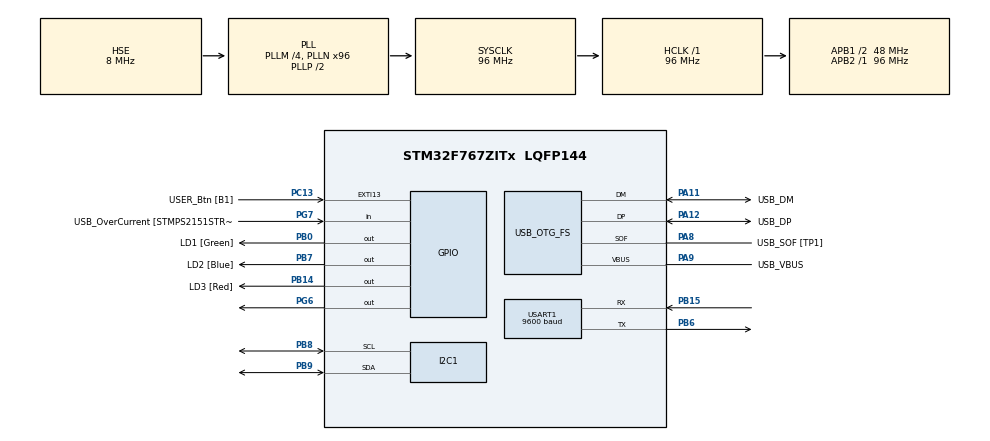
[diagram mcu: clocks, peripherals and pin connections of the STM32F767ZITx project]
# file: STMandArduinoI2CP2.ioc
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I2C1.Timing=0x20303E5D
Mcu.Family=STM32F7
Mcu.Name=STM32F767ZITx
Mcu.Package=LQFP144
NVIC.PriorityGroup=NVIC_PRIORITYGROUP_4
PA1.GPIO_Label=RMII_REF_CLK [LAN8742A-CZ-TR_REFCLK0]
PA1.Signal=ETH_REF_CLK
PA10.GPIO_Label=USB_ID
PA10.Signal=USB_OTG_FS_ID
PA11.GPIO_Label=USB_DM
PA11.Mode=Device_Only
PA11.Signal=USB_OTG_FS_DM
PA12.GPIO_Label=USB_DP
PA12.Mode=Device_Only
PA12.Signal=USB_OTG_FS_DP
PA13.GPIO_Label=TMS
PA13.Mode=Serial_Wire
PA13.Signal=SYS_JTMS-SWDIO
PA14.GPIO_Label=TCK
PA14.Mode=Serial_Wire
PA14.Signal=SYS_JTCK-SWCLK
PA2.GPIO_Label=RMII_MDIO [LAN8742A-CZ-TR_MDIO]
PA2.Signal=ETH_MDIO
PA7.GPIO_Label=RMII_CRS_DV [LAN8742A-CZ-TR_CRS_DV]
PA7.Signal=ETH_CRS_DV
PA8.GPIO_Label=USB_SOF [TP1]
PA8.Mode=Activate_SOF_FS
PA8.Signal=USB_OTG_FS_SOF
PA9.GPIO_Label=USB_VBUS
PA9.Mode=Activate_VBUS
PA9.Signal=USB_OTG_FS_VBUS
PB0.GPIO_Label=LD1 [Green]
PB0.Signal=GPIO_Output
PB13.GPIO_Label=RMII_TXD1 [LAN8742A-CZ-TR_TXD1]
PB13.Signal=ETH_TXD1
PB14.GPIO_Label=LD3 [Red]
PB14.Signal=GPIO_Output
PB15.Mode=Asynchronous
PB15.Signal=USART1_RX
PB3.GPIO_Label=SWO
PB3.Signal=SYS_JTDO-SWO
PB6.Mode=Asynchronous
PB6.Signal=USART1_TX
PB7.GPIO_Label=LD2 [Blue]
PB7.Signal=GPIO_Output
PB8.Mode=I2C
PB8.Signal=I2C1_SCL
PB9.Mode=I2C
PB9.Signal=I2C1_SDA
PC1.GPIO_Label=RMII_MDC [LAN8742A-CZ-TR_MDC]
PC1.Signal=ETH_MDC
PC13.GPIO_Label=USER_Btn [B1]
PC13.Signal=GPXTI13
PC14/OSC32_IN.Mode=LSE-External-Oscillator
PC14/OSC32_IN.Signal=RCC_OSC32_IN
PC15/OSC32_OUT.Mode=LSE-External-Oscillator
PC15/OSC32_OUT.Signal=RCC_OSC32_OUT
PC4.GPIO_Label=RMII_RXD0 [LAN8742A-CZ-TR_RXD0]
PC4.Signal=ETH_RXD0
PC5.GPIO_Label=RMII_RXD1 [LAN8742A-CZ-TR_RXD1]
PC5.Signal=ETH_RXD1
PD8.GPIO_Label=STLK_RX [STM32F103CBT6_PA3]
PD8.Signal=USART3_TX
PD9.GPIO_Label=STLK_TX [STM32F103CBT6_PA2]
PD9.Signal=USART3_RX
PG11.GPIO_Label=RMII_TX_EN [LAN8742A-CZ-TR_TXEN]
PG11.Signal=ETH_TX_EN
PG13.GPIO_Label=RMII_TXD0 [LAN8742A-CZ-TR_TXD0]
PG13.Signal=ETH_TXD0
PG6.Signal=GPIO_Output
PG7.GPIO_Label=USB_OverCurrent [STMPS2151STR_FAULT]
PG7.Signal=GPIO_Input
PH0/OSC_IN.GPIO_Label=MCO [STM32F103CBT6_PA8]
PH0/OSC_IN.Mode=HSE-External-Oscillator
PH0/OSC_IN.Signal=RCC_OSC_IN
PH1/OSC_OUT.Mode=HSE-External-Oscillator
PH1/OSC_OUT.Signal=RCC_OSC_OUT
ProjectManager.HeapSize=0x200
ProjectManager.StackSize=0x400
ProjectManager.TargetToolchain=STM32CubeIDE
RCC.48MHZClocksFreq_Value=24000000
RCC.AHBFreq_Value=96000000
RCC.APB1CLKDivider=RCC_HCLK_DIV2
RCC.APB1Freq_Value=48000000
RCC.APB1TimFreq_Value=96000000
RCC.APB2Freq_Value=96000000
RCC.APB2TimFreq_Value=96000000
RCC.CortexFreq_Value=96000000
RCC.HCLKFreq_Value=96000000
RCC.HSE_VALUE=8000000
RCC.HSI_VALUE=16000000
RCC.PLLM=4
RCC.PLLMUL=RCC_PLL_MUL9
RCC.PLLN=96
RCC.PLLQ=4
RCC.PRESCALERUSB=RCC_USBCLKSOURCE_PLL_DIV1_5
RCC.SYSCLKFreq_VALUE=96000000
RCC.SYSCLKSource=RCC_SYSCLKSOURCE_PLLCLK
RCC.SYSCLKSourceVirtual=RCC_SYSCLKSOURCE_PLLCLK
RCC.USBFreq_Value=48000000
RCC.VCOOutputFreq_Value=192000000
USART1.BaudRate=9600
USART1.VirtualMode-Asynchronous=VM_ASYNC
USB_OTG_FS.VirtualMode=Device_Only
board=NUCLEO-F767ZI

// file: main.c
/* USER CODE BEGIN Header */
/**
  ******************************************************************************
  * @file           : main.c
  * @brief          : Main program body
  ******************************************************************************
  * @attention
  *
  * Copyright (c) 2023 STMicroelectronics.
  * All rights reserved.
  *
  * This software is licensed under terms that can be found in the LICENSE file
  * in the root directory of this software component.
  * If no LICENSE file comes with this software, it is provided AS-IS.
  *
  ******************************************************************************
  */
/* USER CODE END Header */
#include "main.h"

/* USER CODE BEGIN Includes */
#include "math.h"
#include "stdio.h"
#include "stdlib.h"

/* USER CODE END Includes */

/* USER CODE BEGIN PD */
#define ARDUINOONE_I2C_DEVICEADDRESS 0x33<<1
#define ARDUINOTWO_I2C_DEVICEADDRESS 0x37<<1
/* USER CODE END PD */

I2C_HandleTypeDef hi2c1;

UART_HandleTypeDef huart1;

PCD_HandleTypeDef hpcd_USB_OTG_FS;

void SystemClock_Config(void);
static void MX_GPIO_Init(void);
static void MX_USB_OTG_FS_PCD_Init(void);
static void MX_I2C1_Init(void);
static void MX_USART1_UART_Init(void);
/* USER CODE BEGIN PFP */
uint8_t Cmd_End[3] = {0xff,0xff,0xff};
void NEXTION_SendNum (char *obj, int32_t num)
{
	uint8_t *buffer = malloc(30*sizeof (char));
	int len = sprintf ((char *)buffer, "%s.val=%ld", obj, num);
	HAL_UART_Transmit(&huart1, buffer, len, 1000);
	HAL_UART_Transmit(&huart1, Cmd_End, 3, 100);
	free(buffer);
}

/* USER CODE END PFP */

/* USER CODE BEGIN 0 */
unsigned char* arduinoMegaData1 [10];

unsigned char* arduinoNanoData1 [10];

int32_t num3;
int32_t num2;

/* USER CODE END 0 */

int main(void)
{

  /* MCU Configuration--------------------------------------------------------*/

  /* Reset of all peripherals, Initializes the Flash interface and the Systick. */
  HAL_Init();

  /* Configure the system clock */
  SystemClock_Config();

  /* Initialize all configured peripherals */
  MX_GPIO_Init();
  MX_USB_OTG_FS_PCD_Init();
  MX_I2C1_Init();
  MX_USART1_UART_Init();

  /* Infinite loop */
  while (1)
  {

    /* USER CODE BEGIN 3 */
	  HAL_I2C_Master_Receive(&hi2c1, ARDUINOONE_I2C_DEVICEADDRESS, arduinoMegaData1, 10, 100) != HAL_OK;
	  HAL_Delay(1000);

	  HAL_I2C_Master_Receive(&hi2c1, ARDUINOTWO_I2C_DEVICEADDRESS, arduinoNanoData1, 10, 100) != HAL_OK;
	  HAL_Delay(1000);

	  sscanf(arduinoMegaData1, "%d", &num2);
	  sscanf(arduinoNanoData1, "%d", &num3);

	  NEXTION_SendNum("n2", num2);
	  NEXTION_SendNum("n3", num3);
  }
  /* USER CODE END 3 */
}

void SystemClock_Config(void)
{
  RCC_OscInitTypeDef RCC_OscInitStruct = {0};
  RCC_ClkInitTypeDef RCC_ClkInitStruct = {0};

  /** Configure LSE Drive Capability
  */
  HAL_PWR_EnableBkUpAccess();

  /** Configure the main internal regulator output voltage
  */
  __HAL_RCC_PWR_CLK_ENABLE();
  __HAL_PWR_VOLTAGESCALING_CONFIG(PWR_REGULATOR_VOLTAGE_SCALE3);

  /** Initializes the RCC Oscillators according to the specified parameters
  * in the RCC_OscInitTypeDef structure.
  */
  RCC_OscInitStruct.OscillatorType = RCC_OSCILLATORTYPE_HSE;
  RCC_OscInitStruct.HSEState = RCC_HSE_ON;
  RCC_OscInitStruct.PLL.PLLState = RCC_PLL_ON;
  RCC_OscInitStruct.PLL.PLLSource = RCC_PLLSOURCE_HSE;
  RCC_OscInitStruct.PLL.PLLM = 4;
  RCC_OscInitStruct.PLL.PLLN = 96;
  RCC_OscInitStruct.PLL.PLLP = RCC_PLLP_DIV2;
  RCC_OscInitStruct.PLL.PLLQ = 4;
  RCC_OscInitStruct.PLL.PLLR = 2;
  if (HAL_RCC_OscConfig(&RCC_OscInitStruct) != HAL_OK)
  {
    Error_Handler();
  }

  /** Activate the Over-Drive mode
  */
  if (HAL_PWREx_EnableOverDrive() != HAL_OK)
  {
    Error_Handler();
  }

  /** Initializes the CPU, AHB and APB buses clocks
  */
  RCC_ClkInitStruct.ClockType = RCC_CLOCKTYPE_HCLK|RCC_CLOCKTYPE_SYSCLK
                              |RCC_CLOCKTYPE_PCLK1|RCC_CLOCKTYPE_PCLK2;
  RCC_ClkInitStruct.SYSCLKSource = RCC_SYSCLKSOURCE_PLLCLK;
  RCC_ClkInitStruct.AHBCLKDivider = RCC_SYSCLK_DIV1;
  RCC_ClkInitStruct.APB1CLKDivider = RCC_HCLK_DIV2;
  RCC_ClkInitStruct.APB2CLKDivider = RCC_HCLK_DIV1;

  if (HAL_RCC_ClockConfig(&RCC_ClkInitStruct, FLASH_LATENCY_3) != HAL_OK)
  {
    Error_Handler();
  }
}

static void MX_I2C1_Init(void)
{

  hi2c1.Instance = I2C1;
  hi2c1.Init.Timing = 0x20303E5D;
  hi2c1.Init.OwnAddress1 = 0;
  hi2c1.Init.AddressingMode = I2C_ADDRESSINGMODE_7BIT;
  hi2c1.Init.DualAddressMode = I2C_DUALADDRESS_DISABLE;
  hi2c1.Init.OwnAddress2 = 0;
  hi2c1.Init.OwnAddress2Masks = I2C_OA2_NOMASK;
  hi2c1.Init.GeneralCallMode = I2C_GENERALCALL_DISABLE;
  hi2c1.Init.NoStretchMode = I2C_NOSTRETCH_DISABLE;
  if (HAL_I2C_Init(&hi2c1) != HAL_OK)
  {
    Error_Handler();
  }

  /** Configure Analogue filter
  */
  if (HAL_I2CEx_ConfigAnalogFilter(&hi2c1, I2C_ANALOGFILTER_ENABLE) != HAL_OK)
  {
    Error_Handler();
  }

  /** Configure Digital filter
  */
  if (HAL_I2CEx_ConfigDigitalFilter(&hi2c1, 0) != HAL_OK)
  {
    Error_Handler();
  }

}

static void MX_USART1_UART_Init(void)
{

  huart1.Instance = USART1;
  huart1.Init.BaudRate = 9600;
  huart1.Init.WordLength = UART_WORDLENGTH_8B;
  huart1.Init.StopBits = UART_STOPBITS_1;
  huart1.Init.Parity = UART_PARITY_NONE;
  huart1.Init.Mode = UART_MODE_TX_RX;
  huart1.Init.HwFlowCtl = UART_HWCONTROL_NONE;
  huart1.Init.OverSampling = UART_OVERSAMPLING_16;
  huart1.Init.OneBitSampling = UART_ONE_BIT_SAMPLE_DISABLE;
  huart1.AdvancedInit.AdvFeatureInit = UART_ADVFEATURE_NO_INIT;
  if (HAL_UART_Init(&huart1) != HAL_OK)
  {
    Error_Handler();
  }

}

static void MX_USB_OTG_FS_PCD_Init(void)
{

  hpcd_USB_OTG_FS.Instance = USB_OTG_FS;
  hpcd_USB_OTG_FS.Init.dev_endpoints = 6;
  hpcd_USB_OTG_FS.Init.speed = PCD_SPEED_FULL;
  hpcd_USB_OTG_FS.Init.dma_enable = DISABLE;
  hpcd_USB_OTG_FS.Init.phy_itface = PCD_PHY_EMBEDDED;
  hpcd_USB_OTG_FS.Init.Sof_enable = ENABLE;
  hpcd_USB_OTG_FS.Init.low_power_enable = DISABLE;
  hpcd_USB_OTG_FS.Init.lpm_enable = DISABLE;
  hpcd_USB_OTG_FS.Init.vbus_sensing_enable = ENABLE;
  hpcd_USB_OTG_FS.Init.use_dedicated_ep1 = DISABLE;
  if (HAL_PCD_Init(&hpcd_USB_OTG_FS) != HAL_OK)
  {
    Error_Handler();
  }

}

static void MX_GPIO_Init(void)
{
  GPIO_InitTypeDef GPIO_InitStruct = {0};

  /* GPIO Ports Clock Enable */
  __HAL_RCC_GPIOC_CLK_ENABLE();
  __HAL_RCC_GPIOH_CLK_ENABLE();
  __HAL_RCC_GPIOA_CLK_ENABLE();
  __HAL_RCC_GPIOB_CLK_ENABLE();
  __HAL_RCC_GPIOD_CLK_ENABLE();
  __HAL_RCC_GPIOG_CLK_ENABLE();

  /*Configure GPIO pin Output Level */
  HAL_GPIO_WritePin(GPIOB, LD1_Pin|LD3_Pin|LD2_Pin, GPIO_PIN_RESET);

  /*Configure GPIO pin Output Level */
  HAL_GPIO_WritePin(GPIOG, GPIO_PIN_6, GPIO_PIN_RESET);

  /*Configure GPIO pin : USER_Btn_Pin */
  GPIO_InitStruct.Pin = USER_Btn_Pin;
  GPIO_InitStruct.Mode = GPIO_MODE_IT_RISING;
  GPIO_InitStruct.Pull = GPIO_NOPULL;
  HAL_GPIO_Init(USER_Btn_GPIO_Port, &GPIO_InitStruct);

  /*Configure GPIO pins : RMII_MDC_Pin RMII_RXD0_Pin RMII_RXD1_Pin */
  GPIO_InitStruct.Pin = RMII_MDC_Pin|RMII_RXD0_Pin|RMII_RXD1_Pin;
  GPIO_InitStruct.Mode = GPIO_MODE_AF_PP;
  GPIO_InitStruct.Pull = GPIO_NOPULL;
  GPIO_InitStruct.Speed = GPIO_SPEED_FREQ_VERY_HIGH;
  GPIO_InitStruct.Alternate = GPIO_AF11_ETH;
  HAL_GPIO_Init(GPIOC, &GPIO_InitStruct);

  /*Configure GPIO pins : RMII_REF_CLK_Pin RMII_MDIO_Pin RMII_CRS_DV_Pin */
  GPIO_InitStruct.Pin = RMII_REF_CLK_Pin|RMII_MDIO_Pin|RMII_CRS_DV_Pin;
  GPIO_InitStruct.Mode = GPIO_MODE_AF_PP;
  GPIO_InitStruct.Pull = GPIO_NOPULL;
  GPIO_InitStruct.Speed = GPIO_SPEED_FREQ_VERY_HIGH;
  GPIO_InitStruct.Alternate = GPIO_AF11_ETH;
  HAL_GPIO_Init(GPIOA, &GPIO_InitStruct);

  /*Configure GPIO pins : LD1_Pin LD3_Pin LD2_Pin */
  GPIO_InitStruct.Pin = LD1_Pin|LD3_Pin|LD2_Pin;
  GPIO_InitStruct.Mode = GPIO_MODE_OUTPUT_PP;
  GPIO_InitStruct.Pull = GPIO_NOPULL;
  GPIO_InitStruct.Speed = GPIO_SPEED_FREQ_LOW;
  HAL_GPIO_Init(GPIOB, &GPIO_InitStruct);

  /*Configure GPIO pin : RMII_TXD1_Pin */
  GPIO_InitStruct.Pin = RMII_TXD1_Pin;
  GPIO_InitStruct.Mode = GPIO_MODE_AF_PP;
  GPIO_InitStruct.Pull = GPIO_NOPULL;
  GPIO_InitStruct.Speed = GPIO_SPEED_FREQ_VERY_HIGH;
  GPIO_InitStruct.Alternate = GPIO_AF11_ETH;
  HAL_GPIO_Init(RMII_TXD1_GPIO_Port, &GPIO_InitStruct);

  /*Configure GPIO pins : STLK_RX_Pin STLK_TX_Pin */
  GPIO_InitStruct.Pin = STLK_RX_Pin|STLK_TX_Pin;
  GPIO_InitStruct.Mode = GPIO_MODE_AF_PP;
  GPIO_InitStruct.Pull = GPIO_NOPULL;
  GPIO_InitStruct.Speed = GPIO_SPEED_FREQ_VERY_HIGH;
  GPIO_InitStruct.Alternate = GPIO_AF7_USART3;
  HAL_GPIO_Init(GPIOD, &GPIO_InitStruct);

  /*Configure GPIO pin : PG6 */
  GPIO_InitStruct.Pin = GPIO_PIN_6;
  GPIO_InitStruct.Mode = GPIO_MODE_OUTPUT_PP;
  GPIO_InitStruct.Pull = GPIO_NOPULL;
  GPIO_InitStruct.Speed = GPIO_SPEED_FREQ_LOW;
  HAL_GPIO_Init(GPIOG, &GPIO_InitStruct);

  /*Configure GPIO pin : USB_OverCurrent_Pin */
  GPIO_InitStruct.Pin = USB_OverCurrent_Pin;
  GPIO_InitStruct.Mode = GPIO_MODE_INPUT;
  GPIO_InitStruct.Pull = GPIO_NOPULL;
  HAL_GPIO_Init(USB_OverCurrent_GPIO_Port, &GPIO_InitStruct);

  /*Configure GPIO pins : RMII_TX_EN_Pin RMII_TXD0_Pin */
  GPIO_InitStruct.Pin = RMII_TX_EN_Pin|RMII_TXD0_Pin;
  GPIO_InitStruct.Mode = GPIO_MODE_AF_PP;
  GPIO_InitStruct.Pull = GPIO_NOPULL;
  GPIO_InitStruct.Speed = GPIO_SPEED_FREQ_VERY_HIGH;
  GPIO_InitStruct.Alternate = GPIO_AF11_ETH;
  HAL_GPIO_Init(GPIOG, &GPIO_InitStruct);

}

void Error_Handler(void)
{
  __disable_irq();
  while (1)
  {
  }
}
